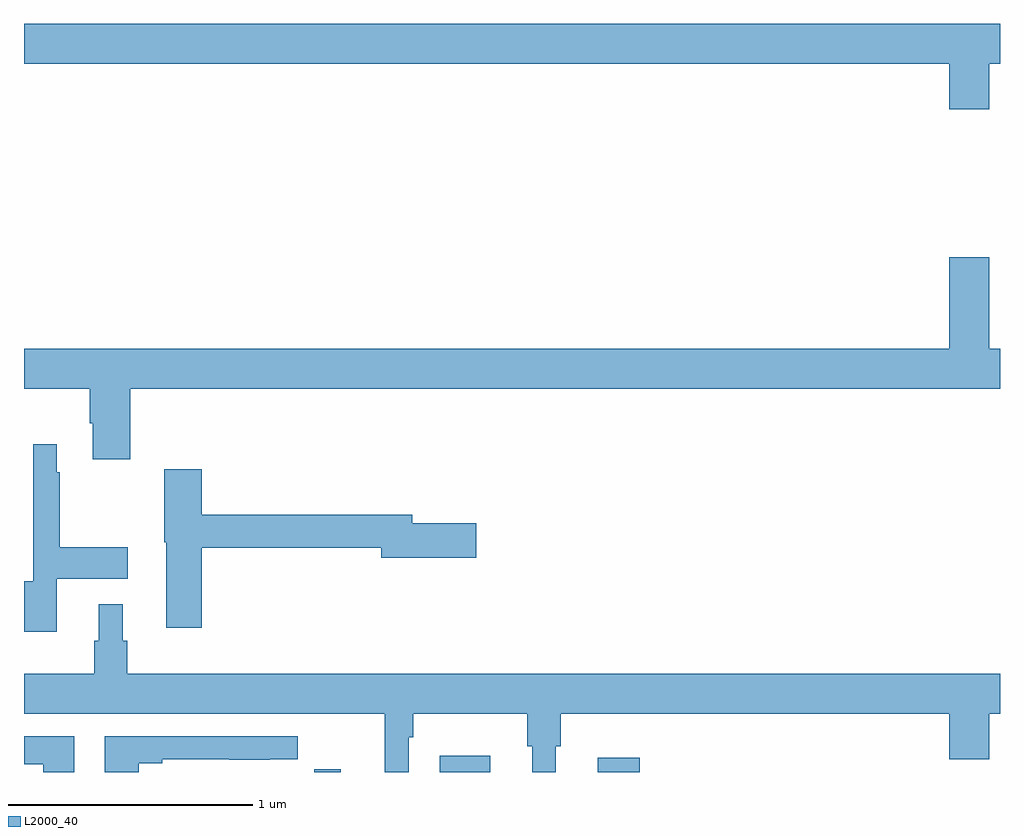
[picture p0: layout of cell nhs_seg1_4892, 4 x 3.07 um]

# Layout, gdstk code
import gdstk
lib = gdstk.Library(unit=1e-6, precision=1e-09)
def R(c, l, rs):  # rectangles x0, y0, x1, y1
    for r in rs: c.add(gdstk.rectangle(r[:2], r[2:], *l))
def P(c, l, *ps):  # polygons
    for p in ps: c.add(gdstk.Polygon(p, *l))
L2000_40 = (2000, 40)

nhs_seg1_4892 = lib.new_cell('nhs_seg1_4892')
R(nhs_seg1_4892, L2000_40, [(378.19,510.199,378.299,510.211), (378.704,510.199,378.91,510.268), (379.352,510.199,379.523,510.259)])
P(nhs_seg1_4892, L2000_40, [(380.956,513.104),(381,513.104),(381,513.268),(377,513.268),(377,513.104),(380.792,513.104),(380.792,512.916),(380.956,512.916)],
  [(377.435,511.772),(381,511.772),(381,511.936),(380.956,511.936),(380.956,512.311),(380.792,512.311),(380.792,511.936),(377,511.936),(377,511.772),(377.27,511.772),(377.27,511.63),(377.282,511.63),(377.282,511.482),(377.435,511.482)],
  [(377.134,510.992),(377.425,510.992),(377.425,511.122),(377.146,511.122),(377.146,511.43),(377.134,511.43),(377.134,511.543),(377.037,511.543),(377.037,510.982),(377,510.982),(377,510.776),(377.134,510.776)],
  [(377.729,511.12),(378.464,511.12),(378.464,511.078),(378.853,511.078),(378.853,511.22),(378.592,511.22),(378.592,511.256),(377.729,511.256),(377.729,511.441),(377.575,511.441),(377.575,511.143),(377.582,511.143),(377.582,510.792),(377.729,510.792)],
  [(378.576,510.344),(378.596,510.344),(378.596,510.44),(379.063,510.44),(379.063,510.306),(379.082,510.306),(379.082,510.199),(379.18,510.199),(379.18,510.306),(379.199,510.306),(379.199,510.44),(380.792,510.44),(380.792,510.252),(380.956,510.252),(380.956,510.44),(381,510.44),(381,510.604),(377.423,510.604),(377.423,510.738),(377.404,510.738),(377.404,510.889),(377.306,510.889),(377.306,510.738),(377.287,510.738),(377.287,510.604),(377,510.604),(377,510.44),(378.479,510.44),(378.479,510.199),(378.576,510.199)],
  [(377.47,510.237),(377.566,510.237),(377.566,510.252),(377.842,510.252),(377.842,510.251),(378.008,510.251),(378.008,510.252),(378.121,510.252),(378.121,510.348),(377.33,510.348),(377.33,510.199),(377.47,510.199)],
  [(377.206,510.348),(377,510.348),(377,510.232),(377.078,510.232),(377.078,510.199),(377.206,510.199)])

lib.write_gds('nhs_seg1_4892.gds')
